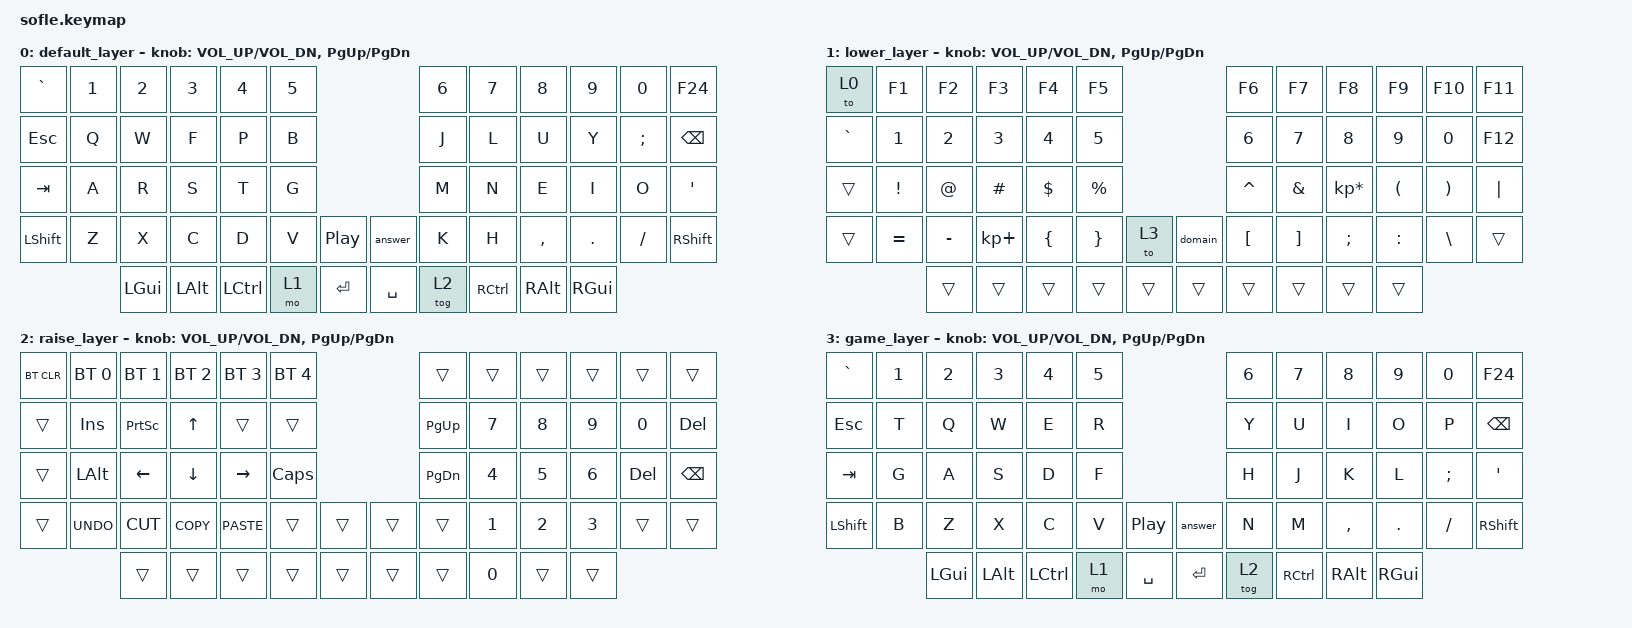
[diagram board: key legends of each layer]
/*
 * Copyright (c) 2020 The ZMK Contributors
 *
 * SPDX-License-Identifier: MIT
 */

#include <behaviors.dtsi>
#include <dt-bindings/zmk/keys.h>
#include <dt-bindings/zmk/bt.h>

/ {
  macros {
    answer: answer {
      compatible = "zmk,behavior-macro";
      label = "ZM_answer";
      #binding-cells = <0>;
      bindings =
        <&macro_press &kp LGUI>,
        <&macro_tap &kp N1>,
        <&macro_release &kp LGUI>,
        <&macro_press &kp LCTRL>,
        <&macro_tap &kp Q>,
        <&macro_release &kp LCTRL>;
    };
    domain: domain {
      compatible = "zmk,behavior-macro";
      label = "ZM_domain";
      #binding-cells = <0>;
      bindings =
        <&macro_tap &kp R &kp A &kp C &kp Q &kp G &kp R &kp O &kp U &kp P &kp DOT &kp L &kp O &kp C &kp A &kp L>;
    };
  };
};

/ {
  keymap {
        compatible = "zmk,keymap";

        default_layer {
// ------------------------------------------------------------------------------------------------------------------
// |  `    |  1  |  2  |  3   |  4   |  5   |                          |  6   |  7    |  8    |  9   |   0   |  F24  |
// |  ESC  |  Q  |  W  |  F   |  P   |  B   |                          |  J   |  L    |  U    |  Y   |   ;   | BKSPC |
// |  TAB  |  A  |  R  |  S   |  T   |  G   |                          |  M   |  N    |  E    |  I   |   O   |   '   |
// | SHIFT |  Z  |  X  |  C   |  D   |  V   | Play/Pause |  | M_answer |  K   |  H    |  ,    |  .   |   /   | SHIFT |
//               | GUI | ALT  | CTRL | LOWER|    ENTER   |  | SPACE    | RAISE| CTRL  | ALT   | GUI  |
            bindings = <
&kp GRAVE &kp N1 &kp N2   &kp N3   &kp N4    &kp N5                            &kp N6  &kp N7    &kp N8    &kp N9   &kp N0   &kp F24
&kp ESC   &kp Q  &kp W    &kp F    &kp P     &kp B                             &kp J   &kp L     &kp U     &kp Y    &kp SEMI &kp BSPC
&kp TAB   &kp A  &kp R    &kp S    &kp T     &kp G                             &kp M   &kp N     &kp E     &kp I    &kp O    &kp SQT
&kp LSHFT &kp Z  &kp X    &kp C    &kp D     &kp V  &kp C_PP        &answer    &kp K   &kp H     &kp COMMA &kp DOT  &kp FSLH &kp RSHFT
                 &kp LGUI &kp LALT &kp LCTRL &mo 1  &kp RET         &kp SPACE  &tog 2  &kp RCTRL &kp RALT  &kp RGUI
            >;

            sensor-bindings = <&inc_dec_kp C_VOL_UP C_VOL_DN &inc_dec_kp PG_UP PG_DN>;
        };

        lower_layer {
// TODO: Some binds are waiting for shifted keycode support.
// --------------------------------------------------------------------------------------------------------------
// |DEFAULT|  F1 |  F2 |  F3  |  F4  |  F5  |                      |  F6  |  F7   |  F8   |  F9  |  F10  |  F11  |
// | `     |   1 |   2 |   3  |   4  |   5  |                      |   6  |   7   |   8   |   9  |    0  |  F12  |
// |       |  !  |  @  |  #   |  $   |  %   |                      |  ^   |  &    |  *    |  (   |   )   |   |   |
// |       |  =  |  -  |  +   |  {   |  }   |GAME |     | M_domain |  [   |  ]    |  ;    |  :   |   \   |       |
//               |     |      |      |      |     |     |          |      |       |       |      |
            bindings = <
&to 0     &kp F1    &kp F2    &kp F3      &kp F4    &kp F5                       &kp F6    &kp F7   &kp F8          &kp F9    &kp F10   &kp F11
&kp GRAVE &kp N1    &kp N2    &kp N3      &kp N4    &kp N5                       &kp N6    &kp N7   &kp N8          &kp N9    &kp N0    &kp F12
&trans    &kp EXCL  &kp AT    &kp HASH    &kp DLLR  &kp PRCNT                    &kp CARET &kp AMPS &kp KP_MULTIPLY &kp LPAR  &kp RPAR  &kp PIPE
&trans    &kp EQUAL &kp MINUS &kp KP_PLUS &kp LBRC  &kp RBRC  &to 3      &domain &kp LBKT  &kp RBKT &kp SEMI        &kp COLON &kp BSLH  &trans
                    &trans    &trans      &trans    &trans    &trans     &trans  &trans    &trans   &trans          &trans
            >;

            sensor-bindings = <&inc_dec_kp C_VOL_UP C_VOL_DN &inc_dec_kp PG_UP PG_DN>;
        };

        raise_layer {
// ------------------------------------------------------------------------------------------------------------
// |BTCLR| BT1  | BT2  |  BT3  |  BT4  |  BT5 |                   |      |      |       |      |       |       |
// |     | INS  | PSCR |   UP  |       |      |                   | PGUP |   7  |   8   |   9  |       |       |
// |     | ALT  | LEFT |  DOWN | RIGHT | CAPS |                   | PGDN |   4  |   5   |   6  |  DEL  | BKSPC |
// |     | UNDO | CUT  | COPY  | PASTE |      |      |     |      |      |   1  |   2   |   3  |       |       |
//              |      |       |       |      |      |     |      |      |      |       |      |
            bindings = <
&bt BT_CLR &bt BT_SEL 0 &bt BT_SEL 1 &bt BT_SEL 2 &bt BT_SEL 3 &bt BT_SEL 4             &trans    &trans    &trans    &trans     &trans  &trans
&trans     &kp INS      &kp PSCRN    &kp UP       &trans       &trans                   &kp PG_UP &kp N7    &kp N8    &kp N9     &kp N0  &kp DEL
&trans     &kp LALT     &kp LEFT     &kp DOWN     &kp RIGHT    &kp CLCK                 &kp PG_DN &kp N4    &kp N5    &kp N6     &kp DEL &kp BSPC
&trans     &kp K_UNDO   &kp K_CUT    &kp K_COPY   &kp K_PASTE  &trans  &trans   &trans  &trans    &kp N1    &kp N2    &kp N3     &trans  &trans
                        &trans       &trans       &trans       &trans  &trans   &trans  &trans    &kp N0    &trans &trans
            >;

            sensor-bindings = <&inc_dec_kp C_VOL_UP C_VOL_DN &inc_dec_kp PG_UP PG_DN>;
        };

        game_layer {
// ------------------------------------------------------------------------------------------------------------------
// |  `    |  1  |  2  |  3   |  4   |  5   |                          |  6   |  7    |  8    |  9   |   0   |  F24  |
// |  ESC  |  T  |  Q  |  W   |  E   |  R   |                          |  Y   |  U    |  I    |  O   |   P   | BKSPC |
// |  TAB  |  G  |  A  |  S   |  D   |  F   |                          |  H   |  J    |  K    |  L   |   ;   |   '   |
// | SHIFT |  B  |  Z  |  X   |  C   |  V   | Play/Pause |  | M_answer |  N   |  M    |  ,    |  .   |   /   | SHIFT |
//               | GUI | ALT  | CTRL | LOWER|    ENTER   |  | SPACE    | RAISE| CTRL  | ALT   | GUI  |
            bindings = <
&kp GRAVE &kp N1 &kp N2   &kp N3   &kp N4    &kp N5                            &kp N6  &kp N7    &kp N8    &kp N9   &kp N0   &kp F24
&kp ESC   &kp T  &kp Q    &kp W    &kp E     &kp R                             &kp Y   &kp U     &kp I     &kp O    &kp P    &kp BSPC
&kp TAB   &kp G  &kp A    &kp S    &kp D     &kp F                             &kp H   &kp J     &kp K     &kp L    &kp SEMI &kp SQT
&kp LSHFT &kp B  &kp Z    &kp X    &kp C     &kp V  &kp C_PP        &answer    &kp N   &kp M     &kp COMMA &kp DOT  &kp FSLH &kp RSHFT
                 &kp LGUI &kp LALT &kp LCTRL &mo 1  &kp SPACE       &kp RET    &tog 2  &kp RCTRL &kp RALT  &kp RGUI
            >;

            sensor-bindings = <&inc_dec_kp C_VOL_UP C_VOL_DN &inc_dec_kp PG_UP PG_DN>;
        };
    };
};
